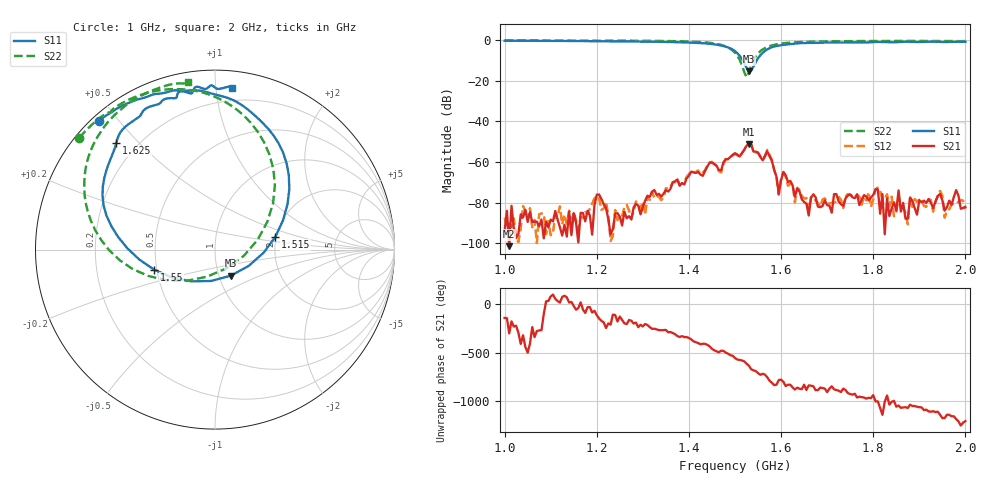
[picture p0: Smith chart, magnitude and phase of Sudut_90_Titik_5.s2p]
# Hz S RI R 50
! CMT, C1220, 16058040, 17.2.0/1
! Date: 14/08/2018 11:47:22
! Data: Format (Calibration Info)
! Freq  S11: Re/Im (F2)  S21: Re/Im (F2)  S12: Re/Im (F2)  S22: Re/Im (F2)
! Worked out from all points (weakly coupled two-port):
!   201 points, 1 GHz to 2 GHz, reference 50 ohm
!   highest |S21| = -51.22 dB at 1.53 GHz (marker M1); lowest = -101.4 dB at 1.01 GHz (marker M2)
!   lowest |S11| = -15.4 dB at 1.53 GHz (marker M3), VSWR 1.41, Z = 57 - j17 ohm
!   |S11| at or under -10 dB: 1.517 GHz to 1.547 GHz (30.41 MHz wide, 1.98 % of centre)
!   |S22| runs from -18.3 to -0.2 dB; largest |S21 - S12| = 0.00016
!   S11 on the Smith chart (normalised r, x): 1 GHz: 0.02, +0.44; 1.515 GHz: 1.98, +0.32; 1.55 GHz: 0.48, -0.12; 1.625 GHz: 0.13, +0.43; 2 GHz: 0.11, +1.11
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1e9  -0.6489 0.7151  -1.57e-05 -1.33e-05  -2.96e-05 3.15e-05  -0.755 0.6245
1.01e9  -0.636 0.7246  4.19e-06 7.45e-06  -2.1e-05 -2.34e-05  -0.748 0.6323
1.17e9  -0.4682 0.8226  3.41e-05 -4.42e-05  4.06e-05 -1.27e-05  -0.618 0.7508
1.335e9  -0.2042 0.8862  -1.28e-05 0.000165  -5.54e-07 0.000139  -0.4009 0.8659
1.45e9  0.1851 0.7787  -0.000149 -0.000951  -0.000203 -0.000996  0.0212 0.8415
1.47e9  0.2977 0.6718  -0.000297 -0.000552  -0.000263 -0.000492  0.1633 0.7444
1.5e9  0.4142 0.3383  -0.00161 0.000407  -0.00151 0.000392  0.3335 0.3568
1.515e9  0.3361 0.0707  -0.00128 0.00106  -0.00133 0.000981  0.2379 0.055
1.53e9  0.0883 -0.1451  0.000123 0.00274  0.00016 0.00271  -0.0452 -0.151
1.55e9  -0.34 -0.1113  0.00168 0.000258  0.00168 0.000312  -0.4602 -0.1075
1.57e9  -0.5765 0.1287  0.00153 -0.00102  0.00164 -0.00114  -0.6674 0.1085
1.595e9  -0.6166 0.4003  7.73e-05 -0.000147  7.02e-05 -0.00014  -0.7284 0.3433
1.605e9  -0.5905 0.4837  8.68e-05 -0.000567  6.49e-05 -0.000537  -0.7259 0.4133
1.625e9  -0.5502 0.5935  -0.0002 -0.000176  -0.00022 -0.000186  -0.7036 0.5208
1.63e9  -0.5446 0.6143  -0.000133 -4.64e-05  -8.51e-05 -5.55e-05  -0.6955 0.543
1.635e9  -0.5374 0.6347  -0.000173 -0.00014  -0.000133 -0.000192  -0.6872 0.5638
1.67e9  -0.4308 0.7332  -9.73e-05 -0.000129  -7.73e-05 -0.000109  -0.6262 0.6718
1.795e9  -0.2108 0.8604  -4.58e-05 0.000125  1.79e-05 7.72e-05  -0.4323 0.8453
1.81e9  -0.1946 0.8805  4.92e-05 0.000208  0.000188 0.000142  -0.4114 0.8575
1.835e9  -0.1373 0.8701  3.44e-05 3.22e-05  6.14e-05 5.29e-05  -0.3779 0.8743
1.98e9  0.0703 0.9068  -5.76e-05 -0.000196  -5.98e-06 -9.4e-05  -0.1756 0.9259
2e9  0.0964 0.9022  -4.82e-05 -6.24e-05  -6.45e-05 -2.27e-05  -0.1518 0.9342
